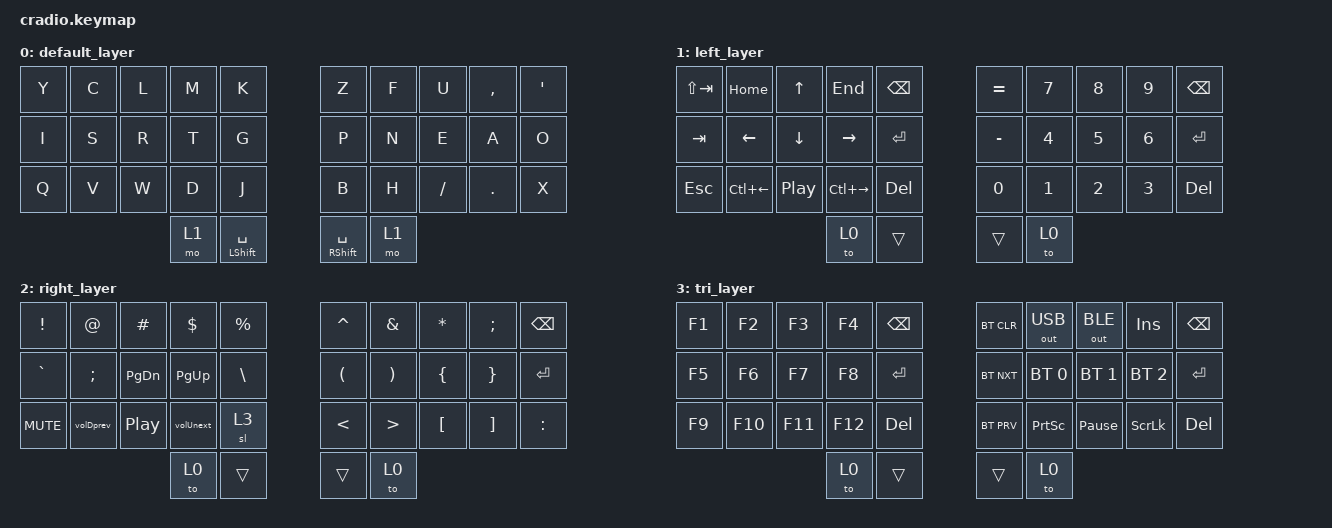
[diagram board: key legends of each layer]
/*
 * Copyright (c) 2020 The ZMK Contributors
 *
 * SPDX-License-Identifier: MIT
 */

#include <behaviors.dtsi>
#include <dt-bindings/zmk/keys.h>
#include <dt-bindings/zmk/bt.h>
#include <dt-bindings/zmk/outputs.h>


&mt {
  //  flavor = "tap-preferred";
   // tapping_term_ms = <200>;
};

/ { 

    combos {
        compatible = "zmk,combos";
        combo_kapp {
            timeout-ms = <30>;
            key-positions = <30 10>;
            bindings = <&kp K_APP>;
        };    
        combo_lgui {
            timeout-ms = <30>;
            key-positions = <30 11>;
            bindings = <&sk LGUI>;
		};     
        combo_lalt {
            timeout-ms = <30>;
            key-positions = <30 12>;
            bindings = <&sk LALT>;
        };     
        combo_lctl {
            timeout-ms = <30>;
            key-positions = <30 13>;
            bindings = <&sk LCTL>;
        };    
		combo_L1 {
            timeout-ms = <30>;
            key-positions = <30 23>;
			layers = <0>;
            bindings = <&to 1>;
        };    
		combo_L2 {
            timeout-ms = <30>;
            key-positions = <30 23>;
			layers = <1>;
            bindings = <&to 2>;
        };          
		combo_L3 {
            timeout-ms = <30>;
            key-positions = <30 23>;
			layers = <2>;
            bindings = <&to 3>;
        };      
		
        combo_sl2 {
            timeout-ms = <60>;
            key-positions = <30 33>;
            bindings = <&sl 2>;
		};	
		
		combo_rctl {
            timeout-ms = <30>;
            key-positions = <33 16>;
            bindings = <&sk RCTL>;
        };       
        combo_ralt {
            timeout-ms = <30>;
            key-positions = <33 17>;
            bindings = <&sk RALT>;
        };       
        combo_rgui {
            timeout-ms = <30>;
            key-positions = <33 18>;
            bindings = <&sk RGUI>;
        };    
        combo_rsl2 {
            timeout-ms = <30>;
            key-positions = <33 19>;
            bindings = <&sl 2>;
		};	     	
		combo_rL1 {
            timeout-ms = <30>;
            key-positions = <33 26>;
			layers = <0>;
            bindings = <&to 1>;
        };   
		combo_rL2 {
            timeout-ms = <30>;
            key-positions = <33 26>;
			layers = <1>;
            bindings = <&to 2>;
        };  
		combo_rL3 {
            timeout-ms = <30>;
            key-positions = <33 26>;
			layers = <2>;
            bindings = <&to 3>;
        };  
   
    };
	
	
    behaviors {
        volUnext: vol_up_next {
            compatible = "zmk,behavior-mod-morph";
            label = "VOL_UP_NEXT";
            #binding-cells = <0>;
            bindings = <&kp C_VOL_UP>, <&kp C_NEXT>;
            mods = <(MOD_LSFT|MOD_RSFT)>;
        };
		volDprev: vol_dn_prev {
            compatible = "zmk,behavior-mod-morph";
            label = "VOL_DN_PREV";
            #binding-cells = <0>;
            bindings = <&kp C_VOL_DN>, <&kp C_PREV>;
            mods = <(MOD_LSFT|MOD_RSFT)>;
        };
    };


        keymap {
                compatible = "zmk,keymap";
                
       	default_layer {
		bindings = <
		&kp Y  &kp C  &kp L  &kp M   &kp K 			   &kp Z  &kp F  &kp U      &kp COMMA  &kp SQT 
		&kp I  &kp S  &kp R  &kp T   &kp G 			   &kp P  &kp N  &kp E      &kp A      &kp O
		&kp Q  &kp V  &kp W  &kp D   &kp J		   	   &kp B  &kp H  &kp SLASH  &kp DOT    &kp X
          				     &mo 1   &mt LSHIFT SPACE  &mt RSHIFT SPACE  &mo 1 
		>;
		};	 
  
       	left_layer {
		bindings = <
		&kp LS(TAB)  &kp HOME     &kp UP    &kp END        &kp BSPC			&kp EQUAL  &kp NUM_7  &kp NUM_8  &kp NUM_9  &kp BSPC 
		&kp TAB      &kp LEFT     &kp DOWN  &kp RIGHT      &kp RET			&kp MINUS  &kp NUM_4  &kp NUM_5  &kp NUM_6  &kp RET
		&kp ESC      &kp LC(LEFT) &kp C_PP  &kp LC(RIGHT)  &kp DEL    		&kp NUM_0  &kp NUM_1  &kp NUM_2  &kp NUM_3  &kp DEL 
					                        &to 0          &trans  			&trans     &to 0
		>;
		};
		
		right_layer {
		bindings = <
		&kp EXCL    &kp AT     &kp HASH  &kp DLLR   &kp PRCNT      	&kp CARET  &kp AMPS  &kp STAR  &kp SEMI  &kp BSPC
		&kp GRAVE   &kp SEMI   &kp PG_DN &kp PG_UP  &kp BSLH  	    &kp LPAR   &kp RPAR  &kp LBRC  &kp RBRC  &kp RET
		&kp C_MUTE  &volDprev  &kp C_PP  &volUnext  &sl 3           &kp LT     &kp GT    &kp LBKT  &kp RBKT  &kp COLON 
					                     &to 0      &trans  	   	&trans     &to 0 
		>;
		};	
		
		tri_layer {
		bindings = <
		&kp F1      &kp F2      &kp F3      &kp F4     &kp BSPC        &bt BT_CLR  &out OUT_USB &out OUT_BLE &kp INS      &kp BSPC
		&kp F5      &kp F6      &kp F7      &kp F8     &kp RET         &bt BT_NXT  &bt BT_SEL 0 &bt BT_SEL 1 &bt BT_SEL 2 &kp RET 
		&kp F9      &kp F10     &kp F11     &kp F12    &kp DEL         &bt BT_PRV  &kp PSCRN    &kp PAUSE_BREAK &kp SLCK  &kp DEL
					                        &to 0      &trans    	   &trans      &to 0
		>;
		};	
        
	};
};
